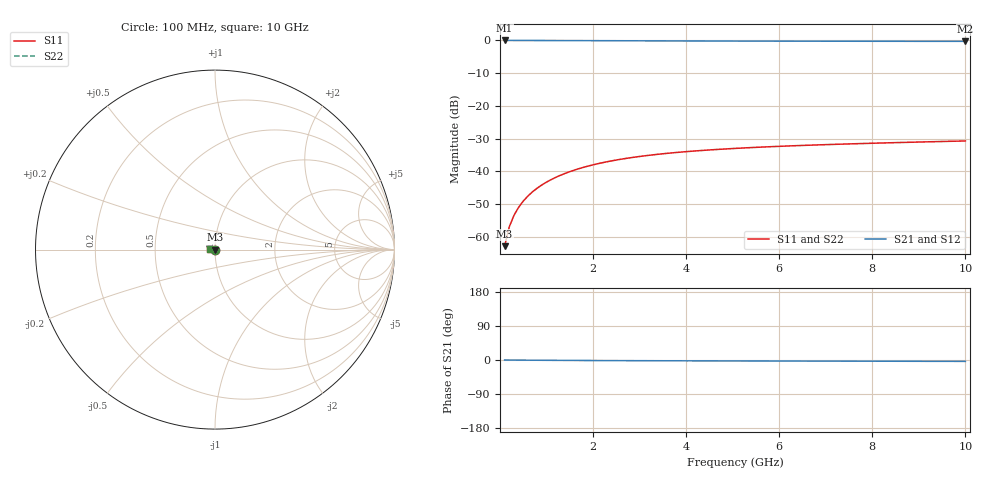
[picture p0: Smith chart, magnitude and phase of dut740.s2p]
! Touchstone file exported from HFSS 2024.1.0
!  File:  C:/UserFiles/LocalFiles/RDL_TSV_Batchsim/temp_TSV1_740_1779870182.aedt
!  Generated:  04:28:33 PM May 27, 2026
!  Design:  TSV1
!  Project:  temp_TSV1_740_1779870182
!  Setup:  Setup1
!  Solution:  Sweep
! Variables:
!  dtsv = 7.95um
!  hbump = 3um
!  htsv = 54.11um
!  lrdl = 252.1521522um
!  p = 40
!  p1 = 43.74um
!  t = 500um
!  trdl = 3um
!  wrdl = 24.89489489um
# GHz S MA R 50.000000
! Terminal data exported
! Port[1] = TSV22_T1
! Port[2] = TSV22_T2
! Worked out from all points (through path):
!   100 points, 100 MHz to 10 GHz, reference 50 ohm
!   highest |S21| = 0.00 dB at 100 MHz (marker M1); lowest = -0.3 dB at 10 GHz (marker M2)
!   lowest |S11| = -62.9 dB at 100 MHz (marker M3), VSWR 1.00, Z = 50 - j0.0698 ohm
!   |S11| at or under -10 dB: start of sweep to end of sweep
!   |S22| runs from -62.9 to -30.7 dB; largest |S21 - S12| = 1.2e-14
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0.1  0.000717 -76.9  0.9998 -0.1  0.9998 -0.1  0.000717 -76.9
! Gamma 0 0 0 0
! Port Impedance 50 0 50 0
0.2  0.001414 -85.9  0.9997 -0.2  0.9997 -0.2  0.001414 -85.9
0.3  0.002113 -90.3  0.9996 -0.2  0.9996 -0.2  0.002113 -90.3
0.4  0.002809 -93.3  0.9994 -0.3  0.9994 -0.3  0.002809 -93.3
0.5  0.003499 -95.8  0.9992 -0.4  0.9992 -0.4  0.003499 -95.8
0.6  0.004183 -98.1  0.999 -0.5  0.999 -0.5  0.004183 -98.1
0.7  0.004859 -100.2  0.9987 -0.5  0.9987 -0.5  0.004859 -100.2
0.8  0.005526 -102.2  0.9984 -0.6  0.9984 -0.6  0.005526 -102.2
0.9  0.006184 -104.2  0.998 -0.7  0.998 -0.7  0.006184 -104.2
1.1  0.007464 -107.9  0.9972 -0.8  0.9972 -0.8  0.007464 -107.9
1.4  0.009289 -113.1  0.9959 -1.0  0.9959 -1.0  0.009289 -113.1
1.6  0.01044 -116.4  0.9949 -1.2  0.9949 -1.2  0.01044 -116.4
1.8  0.01152 -119.6  0.9938 -1.3  0.9938 -1.3  0.01152 -119.6
2.1  0.01305 -124.1  0.9921 -1.4  0.9921 -1.4  0.01305 -124.1
2.5  0.01487 -129.7  0.9899 -1.6  0.9899 -1.6  0.01487 -129.7
2.9  0.01648 -134.9  0.9877 -1.8  0.9877 -1.8  0.01648 -134.9
3.4  0.01821 -140.9  0.9852 -2.0  0.9852 -2.0  0.01821 -140.9
4.2  0.02048 -149.2  0.9816 -2.2  0.9816 -2.2  0.02048 -149.2
5.1  0.02247 -157.2  0.9784 -2.5  0.9784 -2.5  0.02247 -157.2
6.7  0.02513 -168.9  0.9741 -2.9  0.9741 -2.9  0.02513 -168.9
8.4  0.02731 -178.8  0.9711 -3.3  0.9711 -3.3  0.02731 -178.8
10  0.02908 173.3  0.9692 -3.6  0.9692 -3.6  0.02908 173.3
